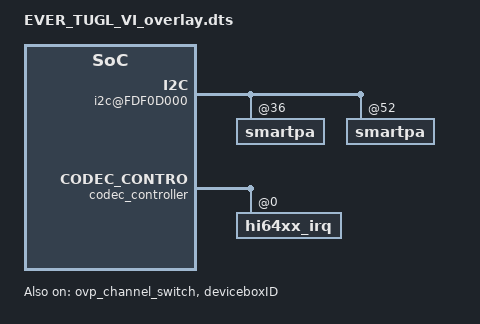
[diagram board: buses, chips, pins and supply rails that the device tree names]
/**
 * Copyright (C) 2014 Hisilicon Ltd.
 *
 *  This program is free software; you can redistribute it and/or modify
 *  it under the terms of the GNU General Public License version 2 as
 *  publishhed by the Free Software Foundation.
 */

/dts-v1/;
/plugin/;

/include/ "EVER_TUGL_VH_overlay.dtsi"
/include/ "EVER_TUGL_VI_pin.dtsi"
/include/ "EVER_TUGL_VI_modem_pin.dtsi"

/ {
    board_id = <8464>;
};
	&rootparam{
		hisi,boardid = <8 4 6 4>;
		hisi,boardname = "EVER_TUGL_VI";
		hisi,modem_id = <0x37021000>;
	};
	&huawei_imx600hybrid {
		gpios = <&gpio1 4 0 &gpio29 1 0 &gpio4 3 0>;
	};
	&amba {
		i2c@FDF0D000 {
			smartpa@36{
				hw_reset {
					gpio_reset = <&gpio32 1 0>;
				};
			};
			smartpa@52{
				hw_reset {
					gpio_reset = <&gpio32 1 0>;
				};
			};
		};
	};
	&ovp_channel_switch {
		gpio_ovp_chsw_en = <&gpio31 3 0>;
		status = "ok";
	};
	&deviceboxID {
		gpio_receiverID = <&gpio29 4 0>;
		pinctrl-0 = <&gpio242_pmx_func &gpio242_cfg_func &gpio236_pmx_func &gpio236_cfg_func>;
		pinctrl-1 = <&gpio242_pmx_idle &gpio242_cfg_idle &gpio236_pmx_idle &gpio236_cfg_idle>;
		status = "ok";
	};
	/*irda*/
	&irda {
		compatible = "irda,config";
		irda,chiptype = <2>; /*hi110x*/
	};
	&audio_hw_config {
		audio_capability {
			irda_support = "false";
		};
	};
	&codec_controller {
		hi64xx_irq@0 {
			hi6403_codec@0{
				hisilicon,ear_ir_gpio = <0>;
				hisilicon,ir_gpio = <0>;
			};
		};
	};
